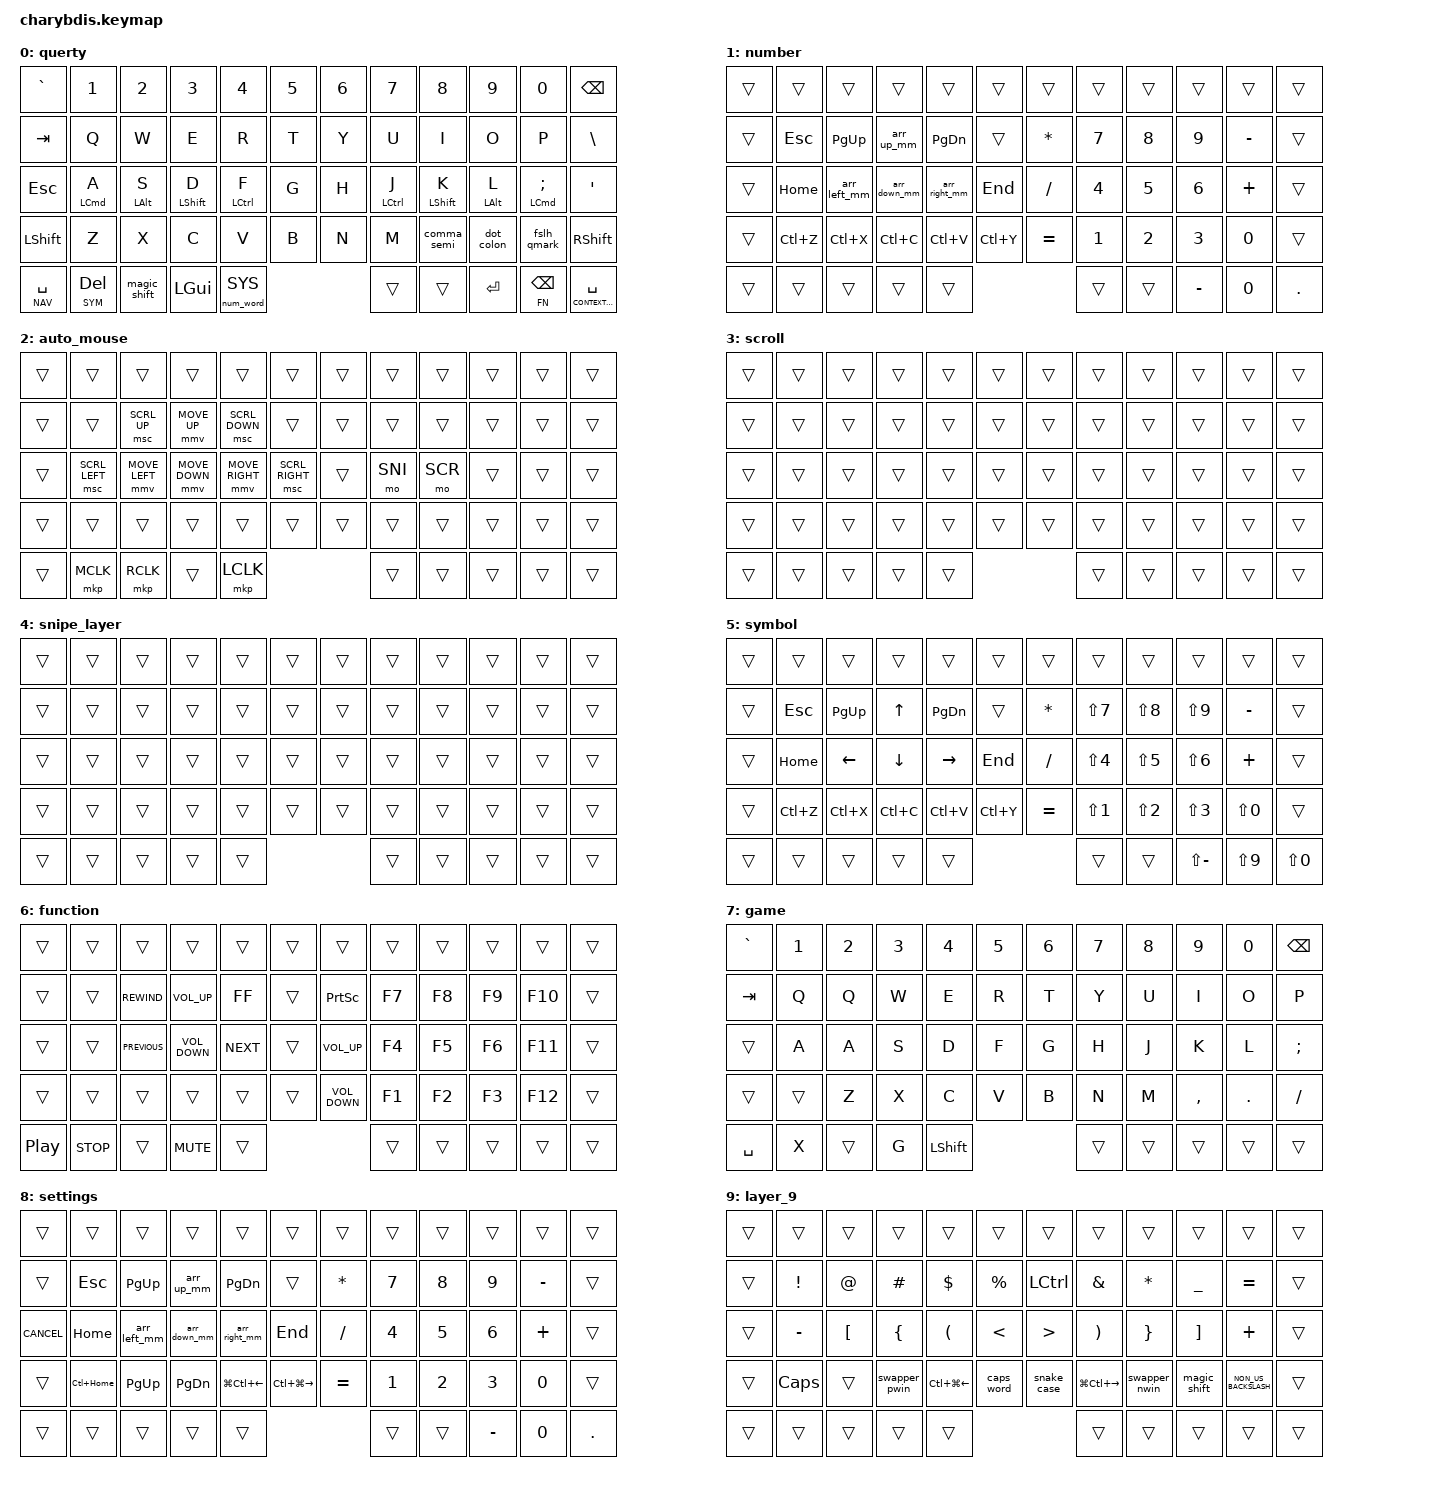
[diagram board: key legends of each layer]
#include <behaviors/mouse_keys.dtsi>
#include <dt-bindings/zmk/mouse.h>
#include "zmk-helpers/helper.h"
#include <behaviors/num_word.dtsi>
#include <behaviors.dtsi>
#include <dt-bindings/zmk/keys.h>
#include <dt-bindings/zmk/pointing.h>

// ── Layer definitions ────────────────────────────────────────

#define BASE  0
#define NAV   1
#define MOUSE 2
#define SCR   3
#define SNI   4
#define SYM   5
#define FN    6
#define GAME  7
#define SYS   8
#define SYM2  9

/ {
    behaviors {
        // ── Timer-less HRM (urob style) ──────────────────────────

        hml: homewrow_mods_left {
            compatible = "zmk,behavior-hold-tap";
            label = "homewrow_mods_left";
            bindings = <&kp>, <&kp>;

            #binding-cells = <2>;
            hold-trigger-key-positions = <6 7 8 9 10 11 18 19 20 21 22 23 30 31 32 33 34 35 42 43 44 45 46 47 53 54 55 56 57>;
            tapping-term-ms = <280>;
            flavor = "balanced";
            quick-tap-ms = <175>;
            require-prior-idle-ms = <150>;
            hold-trigger-on-release;
        };

        hmr: hmr {
            compatible = "zmk,behavior-hold-tap";
            label = "HMR";
            bindings = <&kp>, <&kp>;

            #binding-cells = <2>;
            tapping-term-ms = <280>;
            hold-trigger-key-positions = <0 1 2 3 4 5 12 13 14 15 16 17 24 25 26 27 28 29 36 37 38 39 40 41 48 49 50 51 52>;
            flavor = "balanced";
            quick-tap-ms = <175>;
            require-prior-idle-ms = <150>;
            hold-trigger-on-release;
        };

        tap_preferred: tap_preferred {
            compatible = "zmk,behavior-hold-tap";
            label = "TAP_PREFERRED";
            bindings = <&mo>, <&kp>;

            #binding-cells = <2>;
            tapping-term-ms = <40>;
            flavor = "tap-preferred";
        };

        cm_quote: cm_quote {
            compatible = "zmk,behavior-mod-morph";
            #binding-cells = <0>;
            bindings = <&kp SQT>, <&kp DQT>;

            mods = <(MOD_LSFT|MOD_RSFT)>;
        };

        cm_lpar: cm_lpar {
            compatible = "zmk,behavior-mod-morph";
            #binding-cells = <0>;
            bindings = <&kp LPAR>, <&kp LT>;

            mods = <(MOD_LSFT|MOD_RSFT)>;
        };

        cm_rpar: cm_rpar {
            compatible = "zmk,behavior-mod-morph";
            #binding-cells = <0>;
            bindings = <&kp RPAR>, <&kp GT>;

            mods = <(MOD_LSFT|MOD_RSFT)>;
        };

        bs_del: bs_del {
            compatible = "zmk,behavior-mod-morph";
            #binding-cells = <0>;
            bindings = <&kp BSPC>, <&kp DEL>;

            mods = <(MOD_LSFT|MOD_RSFT)>;
        };

        cm_lbrc: cm_lbrc {
            compatible = "zmk,behavior-mod-morph";
            #binding-cells = <0>;
            bindings = <&kp LBKT>, <&kp LBRC>; // Normal: [, Com Shift: {
            mods = <(MOD_LSFT|MOD_RSFT)>;
        };

        cm_rbrc: cm_rbrc {
            compatible = "zmk,behavior-mod-morph";
            #binding-cells = <0>;
            bindings = <&kp RBKT>, <&kp RBRC>; // Normal: ], Com Shift: }
            mods = <(MOD_LSFT|MOD_RSFT)>;
        };

        // ── Arrow cluster hold-taps (urob style) ─────────────────
        // tap=arrow, hold=home/end/pgup/pgdn

        arr_left: arr_left {
            compatible = "zmk,behavior-hold-tap";
            label = "ARR_LEFT";
            bindings = <&kp>, <&kp>;

            #binding-cells = <2>;
            tapping-term-ms = <300>;
            flavor = "tap-preferred";
            quick-tap-ms = <175>;
        };

        arr_right: arr_right {
            compatible = "zmk,behavior-hold-tap";
            label = "ARR_RIGHT";
            bindings = <&kp>, <&kp>;

            #binding-cells = <2>;
            tapping-term-ms = <300>;
            flavor = "tap-preferred";
            quick-tap-ms = <175>;
        };

        arr_up: arr_up {
            compatible = "zmk,behavior-hold-tap";
            label = "ARR_UP";
            bindings = <&kp>, <&kp>;

            #binding-cells = <2>;
            tapping-term-ms = <300>;
            flavor = "tap-preferred";
            quick-tap-ms = <175>;
        };

        arr_down: arr_down {
            compatible = "zmk,behavior-hold-tap";
            label = "ARR_DOWN";
            bindings = <&kp>, <&kp>;

            #binding-cells = <2>;
            tapping-term-ms = <300>;
            flavor = "tap-preferred";
            quick-tap-ms = <175>;
        };

        // ── Arrow mod-morphs (begin/end of doc) ──────────────────

        arr_left_mm: arr_left_mm {
            compatible = "zmk,behavior-mod-morph";
            label = "ARR_LEFT_MM";
            #binding-cells = <0>;
            bindings = <&arr_left HOME LEFT>, <&kp LC(HOME)>;

            mods = <(MOD_LCTL|MOD_RCTL)>;
        };

        arr_right_mm: arr_right_mm {
            compatible = "zmk,behavior-mod-morph";
            label = "ARR_RIGHT_MM";
            #binding-cells = <0>;
            bindings = <&arr_right END RIGHT>, <&kp LC(END)>;

            mods = <(MOD_LCTL|MOD_RCTL)>;
        };

        arr_up_mm: arr_up_mm {
            compatible = "zmk,behavior-mod-morph";
            label = "ARR_UP_MM";
            #binding-cells = <0>;
            bindings = <&arr_up PG_UP UP>, <&kp LC(HOME)>;

            mods = <(MOD_LCTL|MOD_RCTL)>;
        };

        arr_down_mm: arr_down_mm {
            compatible = "zmk,behavior-mod-morph";
            label = "ARR_DOWN_MM";
            #binding-cells = <0>;
            bindings = <&arr_down PG_DN DOWN>, <&kp LC(END)>;

            mods = <(MOD_LCTL|MOD_RCTL)>;
        };

        // ── Mod-morphs ───────────────────────────────────────────

        comma_semi: comma_semi {
            compatible = "zmk,behavior-mod-morph";
            label = "COMMA_SEMI";
            #binding-cells = <0>;
            bindings = <&kp COMMA>, <&kp SEMI>;

            mods = <(MOD_LSFT|MOD_RSFT)>;
        };

        dot_colon: dot_colon {
            compatible = "zmk,behavior-mod-morph";
            label = "DOT_COLON";
            #binding-cells = <0>;
            bindings = <&kp DOT>, <&kp COLON>;

            mods = <(MOD_LSFT|MOD_RSFT)>;
        };

        fslh_qmark: fslh_qmark {
            compatible = "zmk,behavior-mod-morph";
            label = "FSLH_QMARK";
            #binding-cells = <0>;
            bindings = <&kp FSLH>, <&kp QMARK>;

            mods = <(MOD_LSFT|MOD_RSFT)>;
        };

        // ── Magic Shift completo (urob style) ────────────────────────
        // tap=sticky shift, shift+tap=key repeat, double tap=caps word

        shift_morph: shift_morph {
            compatible = "zmk,behavior-mod-morph";
            label = "SHIFT_MORPH";
            #binding-cells = <0>;
            bindings = <&sk LSHFT>, <&key_repeat>;

            mods = <(MOD_LSFT)>;
        };

        magic_shift: magic_shift {
            compatible = "zmk,behavior-mod-morph";
            label = "MAGIC_SHIFT";
            #binding-cells = <0>;
            bindings = <&shift_morph>, <&caps_word>;

            mods = <(MOD_LSFT)>;
        };

        // ── Swapper PWin/NWin (tri-state) ────────────────────────

        swapper_nwin: swapper_nwin {
            compatible = "zmk,behavior-tri-state";
            label = "SWAPPER_NWIN";
            #binding-cells = <0>;
            bindings = <&kt LALT>, <&kp TAB>, <&kt LALT>;

            ignored-key-positions = <19 20 21>;
        };

        swapper_pwin: swapper_pwin {
            compatible = "zmk,behavior-tri-state";
            label = "SWAPPER_PWIN";
            #binding-cells = <0>;
            bindings = <&kt LALT>, <&kp LS(TAB)>, <&kt LALT>;

            ignored-key-positions = <19 20 21>;
        };
    };

    // ── Macros ───────────────────────────────────────────────────

    macros {
        snake_case: snake_case {
            compatible = "zmk,behavior-macro";
            label = "SNAKE_CASE";
            #binding-cells = <0>;
            bindings = <&kp UNDER>;
        };

        kebab_case: kebab_case {
            compatible = "zmk,behavior-macro";
            label = "KEBAB_CASE";
            #binding-cells = <0>;
            bindings = <&kp MINUS>;
        };
    };

    combos {
        compatible = "zmk,combos";

        // ── Pessoais ─────────────────────────────────────────────

        minus {
            bindings = <&kp MINUS>;
            key-positions = <30 31>;
            require-prior-idle-ms = <125>;
        };

        underscore {
            bindings = <&kp UNDER>;
            key-positions = <42 43>;
            require-prior-idle-ms = <125>;
        };

        equal {
            bindings = <&kp EQUAL>;
            key-positions = <40 41>;
            require-prior-idle-ms = <125>;
        };

        // ── Urob horizontais esquerda ─────────────────────────────

        combo_caps_word {
            bindings = <&kp CAPSLOCK>;
            key-positions = <28 29>;
            timeout-ms = <40>;
            require-prior-idle-ms = <125>;
        };

        // quote / parentheses combos (shift-linked mod-morphs)

        combo_quote {
            bindings = <&cm_quote>;
            key-positions = <31 33>;
            timeout-ms = <40>;
            require-prior-idle-ms = <125>;
        };

        combo_lpar {
            bindings = <&cm_lpar>;
            key-positions = <31 32>;
            timeout-ms = <40>;
            require-prior-idle-ms = <125>;
        };

        combo_rpar {
            bindings = <&cm_rpar>;
            key-positions = <32 33>;
            timeout-ms = <40>;
            require-prior-idle-ms = <125>;
        };

        combo_lbrc {
            bindings = <&cm_lbrc>;
            key-positions = <43 44>; // Ajuste para as posições físicas que preferir
            timeout-ms = <40>;
            require-prior-idle-ms = <125>;
        };

        combo_rbrc {
            bindings = <&cm_rbrc>;
            key-positions = <44 45>; // Ajuste para as posições físicas que preferir
            timeout-ms = <40>;
            require-prior-idle-ms = <125>;
        };

        // ── Urob verticais esquerda ───────────────────────────────

        combo_at {
            bindings = <&kp AT>;
            key-positions = <14 26>;
            timeout-ms = <50>;
            require-prior-idle-ms = <125>;
        };

        combo_hash {
            bindings = <&kp HASH>;
            key-positions = <15 27>;
            timeout-ms = <50>;
            require-prior-idle-ms = <125>;
        };

        combo_dllr {
            bindings = <&kp DLLR>;
            key-positions = <16 28>;
            timeout-ms = <50>;
            require-prior-idle-ms = <125>;
        };

        combo_prcnt {
            bindings = <&kp PRCNT>;
            key-positions = <17 29>;
            timeout-ms = <50>;
            require-prior-idle-ms = <125>;
        };

        combo_grave {
            bindings = <&kp GRAVE>;
            key-positions = <26 38>;
            timeout-ms = <50>;
            require-prior-idle-ms = <125>;
        };

        combo_bslh {
            bindings = <&kp BSLH>;
            key-positions = <27 39>;
            timeout-ms = <50>;
            require-prior-idle-ms = <125>;
        };

        combo_equal_v {
            bindings = <&kp EQUAL>;
            key-positions = <28 40>;
            timeout-ms = <50>;
            require-prior-idle-ms = <125>;
        };

        combo_tilde {
            bindings = <&kp TILDE>;
            key-positions = <29 41>;
            timeout-ms = <50>;
            require-prior-idle-ms = <125>;
        };

        // ── Urob verticais direita ────────────────────────────────

        combo_caret {
            bindings = <&kp CARET>;
            key-positions = <18 30>;
            timeout-ms = <50>;
            require-prior-idle-ms = <125>;
        };

        combo_plus {
            bindings = <&kp PLUS>;
            key-positions = <19 31>;
            timeout-ms = <50>;
            require-prior-idle-ms = <125>;
        };

        combo_star {
            bindings = <&kp STAR>;
            key-positions = <20 32>;
            timeout-ms = <50>;
            require-prior-idle-ms = <125>;
        };

        combo_amps {
            bindings = <&kp AMPS>;
            key-positions = <21 33>;
            timeout-ms = <50>;
            require-prior-idle-ms = <125>;
        };

        combo_under_v {
            bindings = <&snake_case>;
            key-positions = <30 42>;
            timeout-ms = <50>;
            require-prior-idle-ms = <125>;
        };

        combo_minus_v {
            bindings = <&kebab_case>;
            key-positions = <31 43>;
            timeout-ms = <50>;
            require-prior-idle-ms = <125>;
        };

        combo_fslh {
            bindings = <&kp FSLH>;
            key-positions = <32 44>;
            timeout-ms = <50>;
            require-prior-idle-ms = <125>;
        };

        combo_pipe {
            bindings = <&kp PIPE>;
            key-positions = <33 45>;
            timeout-ms = <50>;
            require-prior-idle-ms = <125>;
        };
    };

    keymap {
        compatible = "zmk,keymap";

        // ── 0: BASE ──────────────────────────────────────────────

        querty {
            bindings = <
&kp GRAVE      &kp N1          &kp N2           &kp N3             &kp N4         &kp N5      &kp N6  &kp N7        &kp N8             &kp N9           &kp N0               &kp BSPC
&kp TAB        &kp Q           &kp W            &kp E              &kp R          &kp T       &kp Y   &kp U         &kp I              &kp O            &kp P                &kp BSLH
&kp ESCAPE     &hml LCMD A     &hml LEFT_ALT S  &hml LEFT_SHIFT D  &hml LCTRL F   &kp G       &kp H   &hmr LCTRL J  &hmr LEFT_SHIFT K  &hmr LEFT_ALT L  &hmr LCMD SEMICOLON  &kp APOS
&kp LSHFT      &kp Z           &kp X            &kp C              &kp V          &kp B       &kp N   &kp M         &comma_semi        &dot_colon       &fslh_qmark          &kp RSHFT
&lt NAV SPACE  &lt SYM DELETE  &magic_shift     &kp LEFT_GUI       &num_word SYS                      &trans        &trans             &kp RETURN       &lt FN BSPC          &hmr K_CONTEXT_MENU SPACE
            >;
        };

        // ── 1: NAV + NUM ─────────────────────────────────────────

        number {
            bindings = <
&trans  &trans      &trans        &trans        &trans         &trans         &trans     &trans  &trans  &trans     &trans     &trans
&trans  &kp ESCAPE  &kp PG_UP     &arr_up_mm    &kp PAGE_DOWN  &trans         &kp STAR   &kp N7  &kp N8  &kp N9     &kp MINUS  &trans
&trans  &kp HOME    &arr_left_mm  &arr_down_mm  &arr_right_mm  &kp END        &kp SLASH  &kp N4  &kp N5  &kp N6     &kp PLUS   &trans
&trans  &kp LC(Z)   &kp LC(X)     &kp LC(C)     &kp LC(V)      &kp LC(Y)      &kp EQUAL  &kp N1  &kp N2  &kp N3     &kp N0     &trans
&trans  &trans      &trans        &trans        &trans                                   &trans  &trans  &kp MINUS  &kp N0     &kp PERIOD
            >;
        };

        // ── 2: MOUSE ─────────────────────────────────────────────

        auto_mouse {
            bindings = <
&trans  &trans          &trans          &trans          &trans           &trans               &trans  &trans   &trans   &trans  &trans  &trans
&trans  &trans          &msc SCRL_UP    &mmv MOVE_UP    &msc SCRL_DOWN   &trans               &trans  &trans   &trans   &trans  &trans  &trans
&trans  &msc SCRL_LEFT  &mmv MOVE_LEFT  &mmv MOVE_DOWN  &mmv MOVE_RIGHT  &msc SCRL_RIGHT      &trans  &mo SNI  &mo SCR  &trans  &trans  &trans
&trans  &trans          &trans          &trans          &trans           &trans               &trans  &trans   &trans   &trans  &trans  &trans
&trans  &mkp MCLK       &mkp RCLK       &trans          &mkp LCLK                                     &trans   &trans   &trans  &trans  &trans
            >;
        };

        // ── 3: SCROLL ────────────────────────────────────────────

        scroll {
            bindings = <
&trans  &trans  &trans  &trans  &trans  &trans      &trans  &trans  &trans  &trans  &trans  &trans
&trans  &trans  &trans  &trans  &trans  &trans      &trans  &trans  &trans  &trans  &trans  &trans
&trans  &trans  &trans  &trans  &trans  &trans      &trans  &trans  &trans  &trans  &trans  &trans
&trans  &trans  &trans  &trans  &trans  &trans      &trans  &trans  &trans  &trans  &trans  &trans
&trans  &trans  &trans  &trans  &trans                      &trans  &trans  &trans  &trans  &trans
            >;
        };

        // ── 4: SNIPE ─────────────────────────────────────────────

        snipe_layer {
            bindings = <
&trans  &trans  &trans  &trans  &trans  &trans      &trans  &trans  &trans  &trans  &trans  &trans
&trans  &trans  &trans  &trans  &trans  &trans      &trans  &trans  &trans  &trans  &trans  &trans
&trans  &trans  &trans  &trans  &trans  &trans      &trans  &trans  &trans  &trans  &trans  &trans
&trans  &trans  &trans  &trans  &trans  &trans      &trans  &trans  &trans  &trans  &trans  &trans
&trans  &trans  &trans  &trans  &trans                      &trans  &trans  &trans  &trans  &trans
            >;
        };

        // ── 5: SYM ───────────────────────────────────────────────

        symbol {
            bindings = <
&trans  &trans      &trans     &trans        &trans           &trans         &trans     &trans      &trans      &trans         &trans      &trans
&trans  &kp ESCAPE  &kp PG_UP  &kp UP_ARROW  &kp PAGE_DOWN    &trans         &kp STAR   &kp LS(N7)  &kp LS(N8)  &kp LS(N9)     &kp MINUS   &trans
&trans  &kp HOME    &kp LEFT   &kp DOWN      &kp RIGHT_ARROW  &kp END        &kp SLASH  &kp LS(N4)  &kp LS(N5)  &kp LS(N6)     &kp PLUS    &trans
&trans  &kp LC(Z)   &kp LC(X)  &kp LC(C)     &kp LC(V)        &kp LC(Y)      &kp EQUAL  &kp LS(N1)  &kp LS(N2)  &kp LS(N3)     &kp LS(N0)  &trans
&trans  &trans      &trans     &trans        &trans                                     &trans      &trans      &kp LS(MINUS)  &kp LS(N9)  &kp LS(N0)
            >;
        };

        // ── 6: FN + MEDIA ────────────────────────────────────────

        function {
            bindings = <
&trans    &trans      &trans          &trans             &trans      &trans      &trans             &trans  &trans  &trans  &trans   &trans
&trans    &trans      &kp C_REWIND    &kp C_VOLUME_UP    &kp C_FF    &trans      &kp PRINTSCREEN    &kp F7  &kp F8  &kp F9  &kp F10  &trans
&trans    &trans      &kp C_PREVIOUS  &kp C_VOLUME_DOWN  &kp C_NEXT  &trans      &kp C_VOLUME_UP    &kp F4  &kp F5  &kp F6  &kp F11  &trans
&trans    &trans      &trans          &trans             &trans      &trans      &kp C_VOLUME_DOWN  &kp F1  &kp F2  &kp F3  &kp F12  &trans
&kp C_PP  &kp C_STOP  &trans          &kp K_MUTE         &trans                                     &trans  &trans  &trans  &trans   &trans
            >;
        };

        // ── 7: GAME ──────────────────────────────────────────────

        game {
            bindings = <
&kp GRAVE  &kp N1  &kp N2  &kp N3  &kp N4     &kp N5      &kp N6  &kp N7  &kp N8  &kp N9     &kp N0   &kp BSPC
&kp TAB    &kp Q   &kp Q   &kp W   &kp E      &kp R       &kp T   &kp Y   &kp U   &kp I      &kp O    &kp P
&trans     &kp A   &kp A   &kp S   &kp D      &kp F       &kp G   &kp H   &kp J   &kp K      &kp L    &kp SEMI
&trans     &trans  &kp Z   &kp X   &kp C      &kp V       &kp B   &kp N   &kp M   &kp COMMA  &kp DOT  &kp FSLH
&kp SPACE  &kp X   &trans  &kp G   &kp LSHFT                      &trans  &trans  &trans     &trans   &trans
            >;
        };

        // ── 8: SYS ───────────────────────────────────────────────

        settings {
            bindings = <
&trans        &trans        &trans        &trans         &trans            &trans                       &trans     &trans  &trans  &trans     &trans     &trans
&trans        &kp ESCAPE    &kp PG_UP     &arr_up_mm     &kp PAGE_DOWN     &trans                       &kp STAR   &kp N7  &kp N8  &kp N9     &kp MINUS  &trans
&kp K_CANCEL  &kp HOME      &arr_left_mm  &arr_down_mm   &arr_right_mm     &kp END                      &kp SLASH  &kp N4  &kp N5  &kp N6     &kp PLUS   &trans
&trans        &kp LC(HOME)  &kp PG_UP     &kp PAGE_DOWN  &kp LG(LC(LEFT))  &kp LC(LG(RIGHT_ARROW))      &kp EQUAL  &kp N1  &kp N2  &kp N3     &kp N0     &trans
&trans        &trans        &trans        &trans         &trans                                                    &trans  &trans  &kp MINUS  &kp N0     &kp PERIOD
            >;
        };

        // ── 9: SYM2 (urob style) ─────────────────────────────────

        layer_9 {
            bindings = <
&trans  &trans           &trans            &trans          &trans                  &trans           &trans       &trans                   &trans           &trans             &trans                &trans
&trans  &kp EXCLAMATION  &kp AT_SIGN       &kp POUND       &kp DOLLAR              &kp PERCENT      &kp LCTRL    &kp AMPERSAND            &kp STAR         &kp UNDERSCORE     &kp EQUAL             &trans
&trans  &kp MINUS        &kp LEFT_BRACKET  &kp LEFT_BRACE  &kp LEFT_PARENTHESIS    &kp LT           &kp GT       &kp RIGHT_PARENTHESIS    &kp RIGHT_BRACE  &kp RIGHT_BRACKET  &kp PLUS              &trans
&trans  &kp CAPSLOCK     &trans            &swapper_pwin   &kp LC(LG(LEFT_ARROW))  &caps_word       &snake_case  &kp LG(LC(RIGHT_ARROW))  &swapper_nwin    &magic_shift       &kp NON_US_BACKSLASH  &trans
&trans  &trans           &trans            &trans          &trans                                                &trans                   &trans           &trans             &trans                &trans
            >;
        };
    };
};
